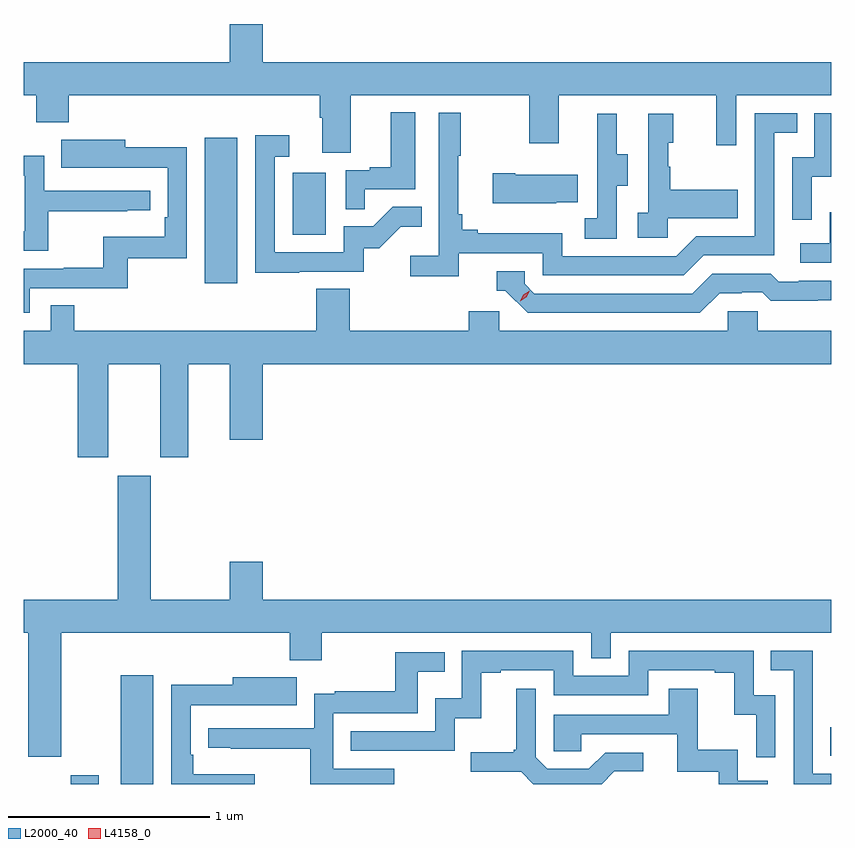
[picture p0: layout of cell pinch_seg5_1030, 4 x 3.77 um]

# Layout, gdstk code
import gdstk
lib = gdstk.Library(unit=1e-6, precision=1e-09)
def R(c, l, rs):  # rectangles x0, y0, x1, y1
    for r in rs: c.add(gdstk.rectangle(r[:2], r[2:], *l))
def P(c, l, *ps):  # polygons
    for p in ps: c.add(gdstk.Polygon(p, *l))
L2000_40 = (2000, 40)
L4158_0 = (4158, 0)

pinch_seg5_1030 = lib.new_cell('pinch_seg5_1030')
R(pinch_seg5_1030, L2000_40, [(823.559,856.011,823.699,856.054), (823.808,856.011,823.969,856.549), (827.323,856.151,827.328,856.291), (824.225,858.492,824.386,859.213), (824.66,858.732,824.824,859.039)])
P(pinch_seg5_1030, L2000_40, [(824.947,859.424),(825.832,859.424),(825.832,859.185),(825.979,859.185),(825.979,859.424),(826.76,859.424),(826.76,859.176),(826.857,859.176),(826.857,859.424),(827.328,859.424),(827.328,859.588),(824.512,859.588),(824.512,859.777),(824.348,859.777),(824.348,859.588),(823.328,859.588),(823.328,859.424),(823.39,859.424),(823.39,859.289),(823.55,859.289),(823.55,859.424),(824.795,859.424),(824.795,859.312),(824.807,859.312),(824.807,859.138),(824.947,859.138)],
  [(825.017,858.957),(825.268,858.957),(825.268,859.339),(825.146,859.339),(825.146,859.066),(825.043,859.066),(825.043,859.053),(824.922,859.053),(824.922,858.859),(825.017,858.859)],
  [(825.482,858.642),(825.9,858.642),(825.9,858.531),(826.597,858.531),(826.696,858.63),(827.046,858.63),(827.046,859.239),(827.159,859.239),(827.159,859.335),(826.95,859.335),(826.95,858.726),(826.659,858.726),(826.56,858.627),(825.996,858.627),(825.996,858.739),(825.577,858.739),(825.577,858.758),(825.5,858.758),(825.5,858.835),(825.481,858.835),(825.481,859.123),(825.493,859.123),(825.493,859.336),(825.384,859.336),(825.384,858.628),(825.243,858.628),(825.243,858.526),(825.482,858.526)],
  [(827.232,859.019),(827.328,859.019),(827.328,859.335),(827.244,859.335),(827.244,859.116),(827.136,859.116),(827.136,858.807),(827.232,858.807)],
  [(826.266,858.976),(826.321,858.976),(826.321,859.131),(826.267,859.131),(826.267,859.333),(826.169,859.333),(826.169,859.119),(826.17,859.119),(826.17,858.815),(826.107,858.815),(826.107,858.712),(826.266,858.712)],
  [(826.518,858.815),(826.865,858.815),(826.865,858.955),(826.531,858.955),(826.531,859.07),(826.521,859.07),(826.521,859.188),(826.546,859.188),(826.546,859.333),(826.422,859.333),(826.422,858.842),(826.371,858.842),(826.371,858.717),(826.518,858.717)],
  [(824.693,858.549),(825.012,858.549),(825.012,858.666),(825.088,858.666),(825.195,858.773),(825.299,858.773),(825.299,858.872),(825.156,858.872),(825.058,858.774),(824.913,858.774),(824.913,858.645),(824.571,858.645),(824.571,859.119),(824.644,859.119),(824.644,859.225),(824.475,859.225),(824.475,858.544),(824.693,858.544)],
  [(823.356,858.468),(823.843,858.468),(823.843,858.615),(824.136,858.615),(824.136,859.166),(823.831,859.166),(823.831,859.204),(823.513,859.204),(823.513,859.064),(823.727,859.064),(823.727,859.065),(824.04,859.065),(824.04,858.82),(824.027,858.82),(824.027,858.724),(823.722,858.724),(823.722,858.569),(823.525,858.569),(823.525,858.564),(823.328,858.564),(823.328,858.345),(823.356,858.345)],
  [(823.448,858.85),(823.841,858.85),(823.841,858.855),(823.954,858.855),(823.954,858.951),(823.428,858.951),(823.428,859.123),(823.328,859.123),(823.328,859.026),(823.332,859.026),(823.332,858.75),(823.328,858.75),(823.328,858.654),(823.448,858.654)],
  [(825.965,858.893),(826.073,858.893),(826.073,859.03),(825.763,859.03),(825.763,859.038),(825.651,859.038),(825.651,858.89),(825.965,858.89)],
  [(827.328,858.844),(827.322,858.844),(827.322,858.69),(827.175,858.69),(827.175,858.594),(827.328,858.594)],
  [(826.777,858.444),(826.884,858.444),(826.884,858.447),(826.987,858.447),(827.029,858.405),(827.262,858.405),(827.262,858.407),(827.328,858.407),(827.328,858.504),(827.167,858.504),(827.167,858.501),(827.068,858.501),(827.029,858.54),(826.74,858.54),(826.641,858.441),(825.858,858.441),(825.81,858.489),(825.81,858.552),(825.671,858.552),(825.671,858.456),(825.714,858.456),(825.825,858.345),(826.678,858.345)],
  [(823.747,858.092),(824.003,858.092),(824.003,857.631),(824.143,857.631),(824.143,858.092),(824.348,858.092),(824.348,857.718),(824.512,857.718),(824.512,858.092),(827.328,858.092),(827.328,858.256),(826.965,858.256),(826.965,858.354),(826.815,858.354),(826.815,858.256),(825.684,858.256),(825.684,858.354),(825.533,858.354),(825.533,858.256),(824.942,858.256),(824.942,858.464),(824.777,858.464),(824.777,858.256),(823.577,858.256),(823.577,858.383),(823.461,858.383),(823.461,858.256),(823.328,858.256),(823.328,858.092),(823.595,858.092),(823.595,857.631),(823.747,857.631)],
  [(823.513,856.76),(824.645,856.76),(824.645,856.625),(824.805,856.625),(824.805,856.76),(826.14,856.76),(826.14,856.633),(826.236,856.633),(826.236,856.76),(827.328,856.76),(827.328,856.924),(824.512,856.924),(824.512,857.113),(824.348,857.113),(824.348,856.924),(823.957,856.924),(823.957,857.539),(823.793,857.539),(823.793,856.924),(823.328,856.924),(823.328,856.76),(823.349,856.76),(823.349,856.146),(823.513,856.146)],
  [(827.328,856.062),(827.238,856.062),(827.238,856.671),(827.029,856.671),(827.029,856.575),(827.142,856.575),(827.142,856.011),(827.328,856.011)],
  [(827.052,856.452),(826.944,856.452),(826.944,856.671),(826.326,856.671),(826.326,856.548),(826.05,856.548),(826.05,856.671),(825.498,856.671),(825.498,856.435),(825.366,856.435),(825.366,856.272),(824.947,856.272),(824.947,856.176),(825.462,856.176),(825.462,856.337),(825.595,856.337),(825.595,856.563),(825.691,856.563),(825.691,856.575),(825.954,856.575),(825.954,856.452),(826.422,856.452),(826.422,856.575),(826.751,856.575),(826.751,856.563),(826.847,856.563),(826.847,856.355),(826.956,856.355),(826.956,856.143),(827.052,856.143)],
  [(825.163,856.086),(824.862,856.086),(824.862,856.362),(825.279,856.362),(825.279,856.568),(825.413,856.568),(825.413,856.665),(825.168,856.665),(825.168,856.471),(824.869,856.471),(824.869,856.459),(824.766,856.459),(824.766,856.287),(824.241,856.287),(824.241,856.191),(824.353,856.191),(824.353,856.186),(824.746,856.186),(824.746,856.011),(825.163,856.011)],
  [(824.473,856.06),(824.168,856.06),(824.168,856.156),(824.154,856.156),(824.154,856.401),(824.467,856.401),(824.467,856.4),(824.681,856.4),(824.681,856.54),(824.363,856.54),(824.363,856.502),(824.058,856.502),(824.058,856.011),(824.473,856.011)],
  [(826.254,856.074),(826.396,856.074),(826.396,856.167),(826.208,856.167),(826.127,856.086),(825.921,856.086),(825.864,856.143),(825.864,856.483),(825.767,856.483),(825.767,856.18),(825.756,856.18),(825.756,856.168),(825.543,856.168),(825.543,856.071),(825.792,856.071),(825.852,856.011),(826.191,856.011)],
  [(827.014,856.026),(826.866,856.026),(826.866,856.18),(826.667,856.18),(826.667,856.483),(826.523,856.483),(826.523,856.353),(825.954,856.353),(825.954,856.173),(826.091,856.173),(826.091,856.257),(826.565,856.257),(826.565,856.071),(826.77,856.071),(826.77,856.011),(827.014,856.011)])
P(pinch_seg5_1030, L4158_0, [(825.787,858.402),(825.787,858.403),(825.803,858.435),(825.834,858.455),(825.834,858.455),(825.834,858.454),(825.818,858.422),(825.788,858.402)])

lib.write_gds('pinch_seg5_1030.gds')
